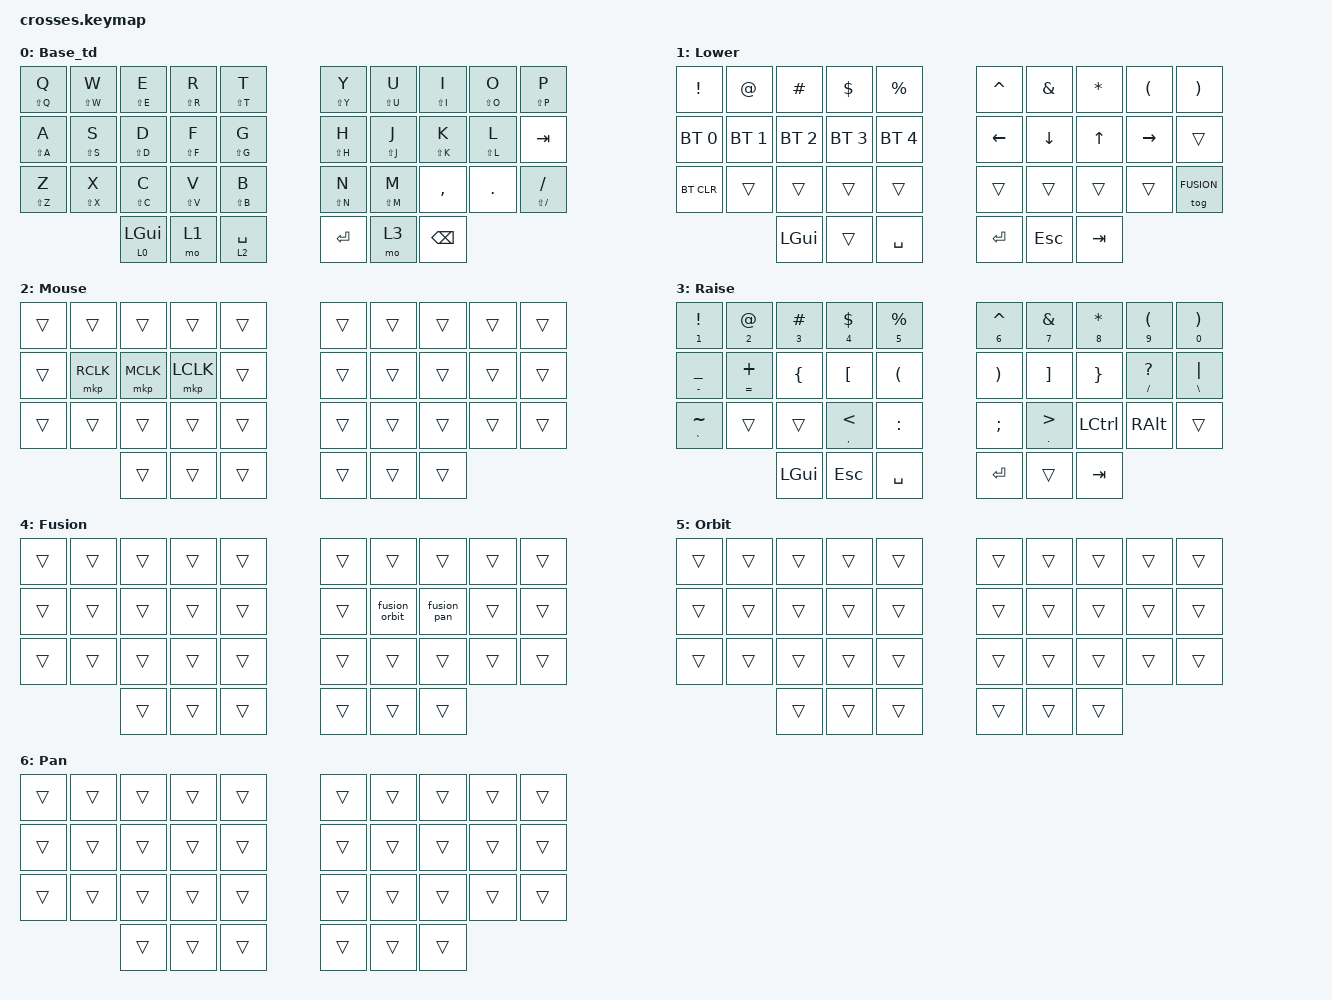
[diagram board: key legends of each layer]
#include <behaviors.dtsi>
#include <dt-bindings/zmk/bt.h>
#include <dt-bindings/zmk/keys.h>
#include <dt-bindings/zmk/pointing.h>
#include <input/processors.dtsi>

#define BASE   0
#define LOWER  1
#define MOUSE  2
#define RAISE  3
#define FUSION 4
#define ORBIT  5
#define PAN    6

/*
 * Left trackball mode switching (Fusion 360 "space mouse"):
 *  - default:            XY -> scroll  (Fusion zooms on scroll)
 *  - ORBIT layer active: XY passthrough, macro holds Shift+MMB -> orbit
 *  - PAN layer active:   XY passthrough, macro holds MMB       -> pan
 * The ORBIT/PAN layers are only ever activated by the fusion_orbit /
 * fusion_pan macros below (held keys on the FUSION layer).
 */
&trackball_peripheral_listener {
    input-processors = <&zip_xy_to_scroll_mapper>, <&zip_scroll_scaler 1 8>;

    orbit_mode {
        layers = <ORBIT>;
        input-processors = <&zip_xy_scaler 1 1>;
    };

    pan_mode {
        layers = <PAN>;
        input-processors = <&zip_xy_scaler 1 1>;
    };
};

/ {
    chosen { zmk,physical-layout = &gggw_crosses_36_layout; };

    macros {
        fusion_orbit: fusion_orbit {
            compatible = "zmk,behavior-macro";
            #binding-cells = <0>;
            wait-ms = <0>;
            tap-ms = <0>;
            bindings
                = <&macro_press &mo ORBIT &kp LSHFT &mkp MCLK>
                , <&macro_pause_for_release>
                , <&macro_release &mkp MCLK &kp LSHFT &mo ORBIT>;
        };

        fusion_pan: fusion_pan {
            compatible = "zmk,behavior-macro";
            #binding-cells = <0>;
            wait-ms = <0>;
            tap-ms = <0>;
            bindings
                = <&macro_press &mo PAN &mkp MCLK>
                , <&macro_pause_for_release>
                , <&macro_release &mkp MCLK &mo PAN>;
        };
    };

    behaviors {
        as: auto_shift {
            compatible = "zmk,behavior-hold-tap";
            #binding-cells = <2>;
            tapping_term_ms = <200>;
            quick_tap_ms = <0>;
            flavor = "tap-preferred";
            bindings = <&kp>, <&kp>;
        };
    };

    keymap {
        compatible = "zmk,keymap";

        default_layer {
            display-name = "Base_td";
            bindings = <
&as LS(Q) Q  &as LS(W) W  &as LS(E) E     &as LS(R) R  &as LS(T) T  &as LS(Y) Y  &as LS(U) U  &as LS(I) I  &as LS(O) O  &as LS(P) P
&as LS(A) A  &as LS(S) S  &as LS(D) D     &as LS(F) F  &as LS(G) G  &as LS(H) H  &as LS(J) J  &as LS(K) K  &as LS(L) L  &kp TAB
&as LS(Z) Z  &as LS(X) X  &as LS(C) C     &as LS(V) V  &as LS(B) B  &as LS(N) N  &as LS(M) M  &kp COMMA    &kp PERIOD   &as LS(SLASH) SLASH
                          &lt 0 LEFT_GUI  &mo 1        &lt 2 SPACE  &kp RET      &mo 3        &kp BSPC
            >;
        };

        lower_layer {
            display-name = "Lower";
            bindings = <
&kp EXCL      &kp AT        &kp HASH      &kp DLLR      &kp PRCNT     &kp CARET  &kp AMPS  &kp ASTRK  &kp LPAR   &kp RPAR
&bt BT_SEL 0  &bt BT_SEL 1  &bt BT_SEL 2  &bt BT_SEL 3  &bt BT_SEL 4  &kp LEFT   &kp DOWN  &kp UP     &kp RIGHT  &trans
&bt BT_CLR    &trans        &trans        &trans        &trans        &trans     &trans    &trans     &trans     &tog FUSION
                            &kp LGUI      &trans        &kp SPACE     &kp RET    &kp ESC   &kp TAB
            >;
        };

        mouse_layer {
            display-name = "Mouse";
            bindings = <
&trans  &trans     &trans     &trans     &trans  &trans  &trans  &trans  &trans  &trans
&trans  &mkp RCLK  &mkp MCLK  &mkp LCLK  &trans  &trans  &trans  &trans  &trans  &trans
&trans  &trans     &trans     &trans     &trans  &trans  &trans  &trans  &trans  &trans
                   &trans     &trans     &trans  &trans  &trans  &trans
            >;
        };

        raise_layer {
            display-name = "Raise";
            bindings = <
&as N1 EXCL      &as N2 AT       &as N3 HASH  &as N4 DOLLAR        &as N5 PERCENT  &as N6 CARET  &as N7 AMPS           &as N8 ASTRK  &as N9 LEFT_PARENTHESIS  &as N0 RIGHT_PARENTHESIS
&as MINUS UNDER  &as EQUAL PLUS  &kp LBRC     &kp LBKT             &kp LPAR        &kp RPAR      &kp RBKT              &kp RBRC      &as FSLH QUESTION        &as BSLH PIPE
&as GRAVE TILDE  &trans          &trans       &as COMMA LESS_THAN  &kp COLON       &kp SEMI      &as DOT GREATER_THAN  &kp LCTRL     &kp RALT                 &trans
                                 &kp LGUI     &kp ESC              &kp SPACE       &kp RET       &trans                &kp TAB
            >;
        };

        fusion_layer {
            // Toggled from Lower (bottom-right key). Typing stays normal;
            // hold J = orbit, hold K = pan, left ball scrolls = zoom.
            display-name = "Fusion";
            bindings = <
&trans  &trans  &trans  &trans  &trans  &trans  &trans         &trans       &trans  &trans
&trans  &trans  &trans  &trans  &trans  &trans  &fusion_orbit  &fusion_pan  &trans  &trans
&trans  &trans  &trans  &trans  &trans  &trans  &trans         &trans       &trans  &trans
                &trans  &trans  &trans  &trans  &trans         &trans
            >;
        };

        orbit_layer {
            // Activated only while fusion_orbit is held (switches left ball to XY).
            display-name = "Orbit";
            bindings = <
&trans  &trans  &trans  &trans  &trans  &trans  &trans  &trans  &trans  &trans
&trans  &trans  &trans  &trans  &trans  &trans  &trans  &trans  &trans  &trans
&trans  &trans  &trans  &trans  &trans  &trans  &trans  &trans  &trans  &trans
                &trans  &trans  &trans  &trans  &trans  &trans
            >;
        };

        pan_layer {
            // Activated only while fusion_pan is held (switches left ball to XY).
            display-name = "Pan";
            bindings = <
&trans  &trans  &trans  &trans  &trans  &trans  &trans  &trans  &trans  &trans
&trans  &trans  &trans  &trans  &trans  &trans  &trans  &trans  &trans  &trans
&trans  &trans  &trans  &trans  &trans  &trans  &trans  &trans  &trans  &trans
                &trans  &trans  &trans  &trans  &trans  &trans
            >;
        };
    };
};
